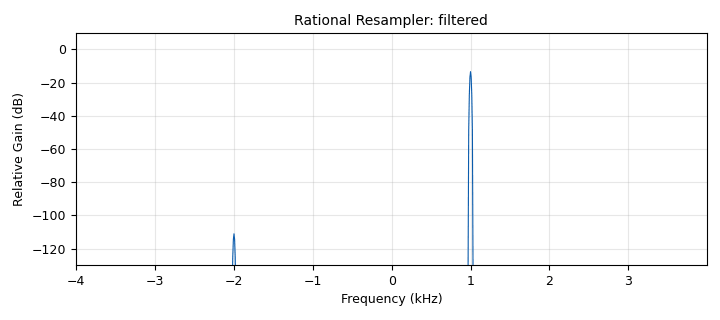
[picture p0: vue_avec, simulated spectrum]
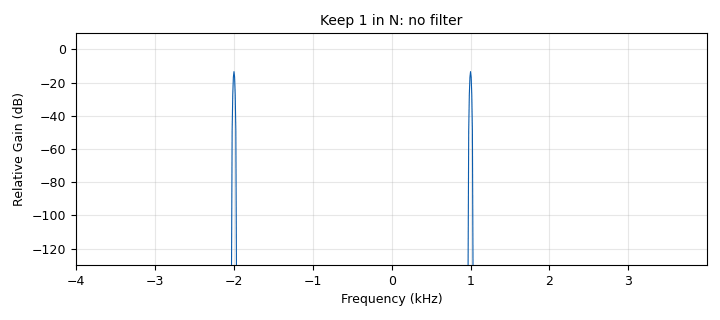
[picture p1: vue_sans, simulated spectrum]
options:
  parameters:
    generate_options: qt_gui
    id: fg_tp04_002
    output_language: python
    title: FG-TP04-002
  states: {}

blocks:
- name: decim
  id: variable
  parameters:
    value: '4'
  states: {}
- name: samp_rate
  id: variable
  parameters:
    value: '32000'
  states: {}
- name: avec_filtre
  id: rational_resampler_xxx
  parameters:
    decim: decim
    interp: '1'
    type: ccc
  states: {}
- name: debit
  id: blocks_throttle2
  parameters:
    samples_per_second: samp_rate
    type: complex
  states: {}
- name: genante
  id: analog_sig_source_x
  parameters:
    amp: '0.6'
    freq: '14000'
    offset: '0'
    phase: '0'
    samp_rate: samp_rate
    type: complex
    waveform: analog.GR_COS_WAVE
  states: {}
- name: sans_filtre
  id: blocks_keep_one_in_n
  parameters:
    n: decim
    type: complex
  states: {}
- name: somme
  id: blocks_add_xx
  parameters:
    type: complex
  states: {}
- name: utile
  id: analog_sig_source_x
  parameters:
    amp: '0.6'
    freq: '1000'
    offset: '0'
    phase: '0'
    samp_rate: samp_rate
    type: complex
    waveform: analog.GR_COS_WAVE
  states: {}
- name: vue_avec
  id: qtgui_freq_sink_x
  parameters:
    average: '0.2'
    bw: samp_rate/decim
    fc: '0'
    fftsize: '1024'
    grid: 'True'
    gui_hint: 1,0,1,1
    legend: 'False'
    name: '"Rational Resampler: filtered"'
    type: complex
    ymin: '-130'
  states: {}
- name: vue_sans
  id: qtgui_freq_sink_x
  parameters:
    average: '0.2'
    bw: samp_rate/decim
    fc: '0'
    fftsize: '1024'
    grid: 'True'
    gui_hint: 0,0,1,1
    legend: 'False'
    name: '"Keep 1 in N: no filter"'
    type: complex
    ymin: '-130'
  states: {}

connections:
- [avec_filtre, '0', vue_avec, '0']
- [debit, '0', avec_filtre, '0']
- [debit, '0', sans_filtre, '0']
- [genante, '0', somme, '1']
- [sans_filtre, '0', vue_sans, '0']
- [somme, '0', debit, '0']
- [utile, '0', somme, '0']

metadata:
  file_format: 1
  grc_version: 3.10.12.0
